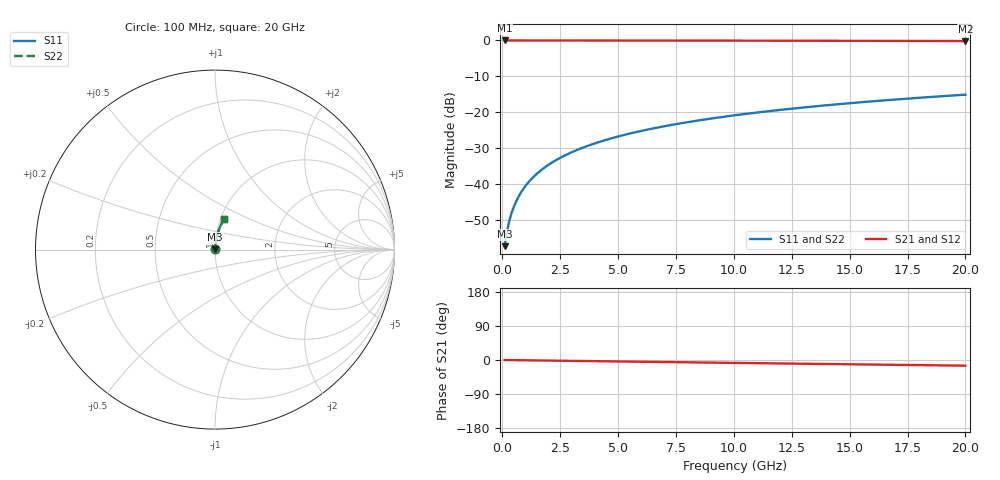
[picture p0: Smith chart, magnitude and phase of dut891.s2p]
! Touchstone file exported from HFSS 2026.1.0
!  File:  C:/ffzhzh/LocalFiles/Ansys_Project_Files/temp_train_TMRDL_891_1783157643_55132.aedt
!  Generated:  05:35:17 PM Jul  4, 2026
!  Design:  TMRDL
!  Project:  temp_train_TMRDL_891_1783157643_55132
! Variables:
!  h_bsmrdl = 2um
!  h_ox = 20um
!  h_rdl = 5um
!  h_sub = 80um
!  h_tmrdl = 4.11um
!  h_tsv = 80um
!  h_via = 3um
!  l_bsmrdl = 300um
!  l_sub = 560.1um
!  l_tmrdl = 160.1um
!  m_sub = 200um
!  pitch = 51.13um
!  r_tsv = 6um
!  s_tmrdl = 10um
!  w_bsmrdl = 18um
!  w_sub = 500um
!  w_tmrdl = 17.36um
!  x_tsv_center1 = 168.78um
!  x_tsv_center2 = 486.78um
!  x_tsv_center3 = 664.24um
!  x_tsv_center4 = 982.24um
!  x_tsv_center5 = 1159.7um
!  x_tsv_center6 = 1477.7um
# GHz S MA R 50.000000
! Terminal data exported
! Port[1] = TM_RDL1_1_T1
! Port[2] = TM_RDL1_1_T2
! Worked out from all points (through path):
!   200 points, 100 MHz to 20 GHz, reference 50 ohm
!   highest |S21| = -0.01 dB at 100 MHz (marker M1); lowest = -0.2 dB at 20 GHz (marker M2)
!   group delay of S21, straight-line fit = 2.08 ps
!   lowest |S11| = -57.3 dB at 100 MHz (marker M3), VSWR 1.00, Z = 50.1 + j0.0978 ohm
!   |S11| at or under -10 dB: start of sweep to end of sweep
!   |S22| runs from -57.3 to -15.1 dB; largest |S21 - S12| = 2.6e-15
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0.1  0.001369 45.5  0.999 -0.1  0.999 -0.1  0.001369 45.5
! Gamma 0 0 0 0
! Port Impedance 50 0 50 0
0.2  0.002176 62.7  0.999 -0.2  0.999 -0.2  0.002176 62.7
0.3  0.003056 70.2  0.999 -0.2  0.999 -0.2  0.003056 70.2
0.4  0.003952 74.2  0.9989 -0.3  0.9989 -0.3  0.003952 74.2
0.5  0.004854 76.8  0.9989 -0.4  0.9989 -0.4  0.004854 76.8
0.6  0.005761 78.6  0.9989 -0.5  0.9989 -0.5  0.005761 78.6
0.8  0.007585 80.9  0.9988 -0.6  0.9988 -0.6  0.007585 80.9
1.1  0.01034 82.7  0.9988 -0.9  0.9988 -0.9  0.01034 82.7
1.5  0.01402 83.9  0.9987 -1.2  0.9987 -1.2  0.01402 83.9
1.8  0.01678 84.4  0.9986 -1.4  0.9986 -1.4  0.01678 84.4
2.1  0.01954 84.6  0.9985 -1.6  0.9985 -1.6  0.01954 84.6
2.7  0.02506 84.7  0.9983 -2.1  0.9983 -2.1  0.02506 84.7
3.5  0.03239 84.6  0.9979 -2.7  0.9979 -2.7  0.03239 84.6
4.2  0.03876 84.3  0.9976 -3.2  0.9976 -3.2  0.03876 84.3
5  0.04601 83.8  0.9971 -3.8  0.9971 -3.8  0.04601 83.8
5.9  0.05412 83.3  0.9965 -4.5  0.9965 -4.5  0.05412 83.3
6.8  0.06217 82.7  0.9958 -5.2  0.9958 -5.2  0.06217 82.7
8.3  0.0755 81.7  0.9946 -6.3  0.9946 -6.3  0.0755 81.7
10.1  0.09135 80.5  0.993 -7.7  0.993 -7.7  0.09135 80.5
13.4  0.12 78.3  0.9894 -10.1  0.9894 -10.1  0.12 78.3
16.7  0.1482 76.0  0.9852 -12.6  0.9852 -12.6  0.1482 76.0
20  0.1758 73.7  0.9803 -15.0  0.9803 -15.0  0.1758 73.7
